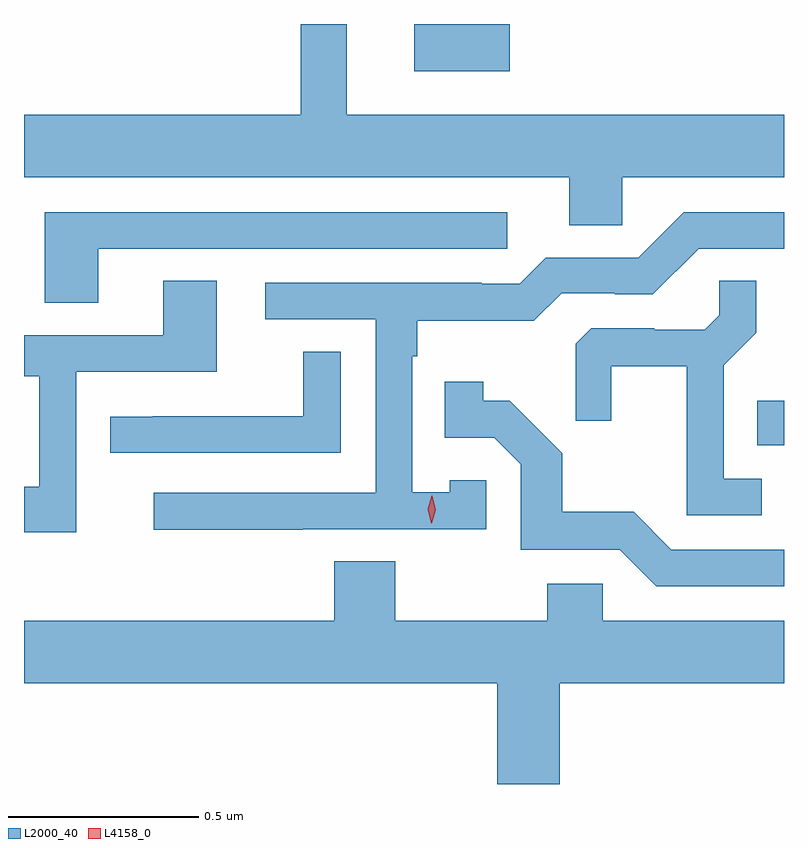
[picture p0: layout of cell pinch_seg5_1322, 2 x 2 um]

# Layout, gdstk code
import gdstk
lib = gdstk.Library(unit=1e-6, precision=1e-09)
def R(c, l, rs):  # rectangles x0, y0, x1, y1
    for r in rs: c.add(gdstk.rectangle(r[:2], r[2:], *l))
def P(c, l, *ps):  # polygons
    for p in ps: c.add(gdstk.Polygon(p, *l))
L2000_40 = (2000, 40)
L4158_0 = (4158, 0)

pinch_seg5_1322 = lib.new_cell('pinch_seg5_1322')
R(pinch_seg5_1322, L2000_40, [(438.752,862.715,438.822,862.831), (437.849,863.699,438.1,863.823)])
P(pinch_seg5_1322, L2000_40, [(438.396,863.42),(438.822,863.42),(438.822,863.584),(437.671,863.584),(437.671,863.823),(437.55,863.823),(437.55,863.584),(436.822,863.584),(436.822,863.42),(438.257,863.42),(438.257,863.293),(438.396,863.293)],
  [(437.555,862.494),(438.039,862.494),(438.039,862.623),(437.943,862.623),(437.943,862.591),(437.844,862.591),(437.844,862.949),(437.857,862.949),(437.857,863.042),(438.164,863.042),(438.237,863.115),(438.376,863.115),(438.376,863.112),(438.477,863.112),(438.597,863.232),(438.822,863.232),(438.822,863.328),(438.558,863.328),(438.438,863.208),(438.195,863.208),(438.126,863.139),(438.026,863.139),(438.026,863.142),(437.457,863.142),(437.457,863.046),(437.748,863.046),(437.748,862.59),(437.163,862.59),(437.163,862.492),(437.555,862.492)],
  [(437.017,863.232),(438.094,863.232),(438.094,863.328),(436.877,863.328),(436.877,863.089),(437.017,863.089)],
  [(436.959,862.908),(437.329,862.908),(437.329,863.147),(437.189,863.147),(437.189,863.004),(436.822,863.004),(436.822,862.896),(436.862,862.896),(436.862,862.605),(436.822,862.605),(436.822,862.485),(436.959,862.485)],
  [(438.763,862.626),(438.663,862.626),(438.663,862.925),(438.749,863.011),(438.749,863.147),(438.651,863.147),(438.651,863.056),(438.614,863.019),(438.48,863.019),(438.48,863.022),(438.315,863.022),(438.274,862.981),(438.274,862.779),(438.368,862.779),(438.368,862.922),(438.566,862.922),(438.566,862.53),(438.763,862.53)],
  [(437.655,862.961),(437.557,862.961),(437.557,862.791),(437.161,862.791),(437.161,862.79),(437.049,862.79),(437.049,862.695),(437.655,862.695)],
  [(438.822,862.44),(438.525,862.44),(438.427,862.539),(438.238,862.539),(438.238,862.694),(438.1,862.832),(438.03,862.832),(438.03,862.882),(437.929,862.882),(437.929,862.734),(438.06,862.734),(438.129,862.665),(438.129,862.44),(438.39,862.44),(438.486,862.344),(438.822,862.344)],
  [(438.232,862.088),(438.822,862.088),(438.822,862.252),(438.345,862.252),(438.345,862.35),(438.199,862.35),(438.199,862.252),(437.799,862.252),(437.799,862.409),(437.639,862.409),(437.639,862.252),(436.822,862.252),(436.822,862.088),(438.068,862.088),(438.068,861.823),(438.232,861.823)])
P(pinch_seg5_1322, L4158_0, [(437.894,862.509),(437.894,862.509),(437.885,862.546),(437.895,862.581),(437.895,862.581),(437.896,862.581),(437.905,862.545),(437.895,862.509)])

lib.write_gds('pinch_seg5_1322.gds')
